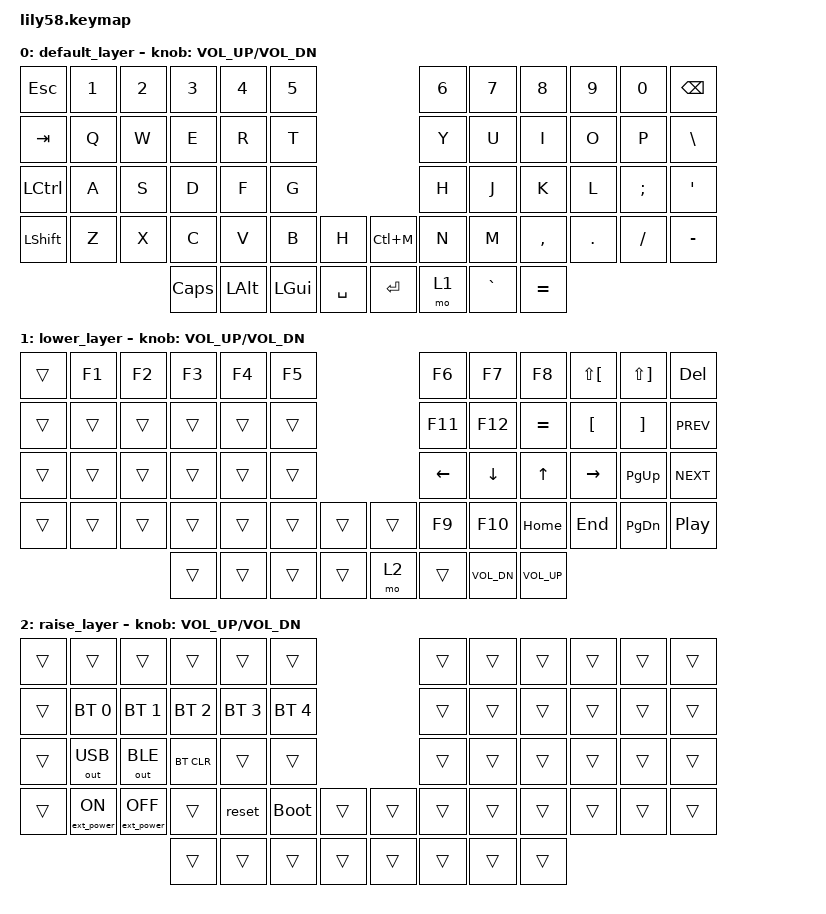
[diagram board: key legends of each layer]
/*
 * Copyright (c) 2020 The ZMK Contributors
 *
 * SPDX-License-Identifier: MIT
 */

#include <behaviors.dtsi>
#include <dt-bindings/zmk/keys.h>
#include <dt-bindings/zmk/bt.h>
#include <dt-bindings/zmk/ext_power.h>
#include <dt-bindings/zmk/outputs.h>

/ {
	keymap {
		compatible = "zmk,keymap";

		default_layer {
// ------------------------------------------------------------------------------------------------------------
// |  ESC  |  1  |  2  |  3    |  4   |  5   |                   |  6   |  7    |  8    |  9   |   0   | BSPC  |
// |  TAB  |  Q  |  W  |  E    |  R   |  T   |                   |  Y   |  U    |  I    |  O   |   P   |  \    |
// |  CTRL |  A  |  S  |  D    |  F   |  G   |                   |  H   |  J    |  K    |  L   |   ;   |  '    |
// | SHIFT |  Z  |  X  |  C    |  V   |  B   |   H   |  | CTRL+M |  N   |  M    |  ,    |  .   |   /   |  -    |
//                     | CAPS  | ALT  | GUI  | SPACE |  | ENTER  | FN1  |  ~    |  =    |
			bindings = <
&kp ESC   &kp N1 &kp N2 &kp N3   &kp N4   &kp N5                         &kp N6 &kp N7    &kp N8    &kp N9  &kp N0   &kp BSPC
&kp TAB   &kp Q  &kp W  &kp E    &kp R    &kp T                          &kp Y  &kp U     &kp I     &kp O   &kp P    &kp BSLH
&kp LCTRL &kp A  &kp S  &kp D    &kp F    &kp G                          &kp H  &kp J     &kp K     &kp L   &kp SEMI &kp SQT
&kp LSHFT &kp Z  &kp X  &kp C    &kp V    &kp B     &kp H      &kp LC(M) &kp N  &kp M     &kp COMMA &kp DOT &kp FSLH &kp MINUS
                        &kp CLCK &kp LALT &kp LGUI  &kp SPACE  &kp RET   &mo 1  &kp GRAVE &kp EQUAL
			>;

			sensor-bindings = <&inc_dec_kp C_VOL_UP C_VOL_DN>;
		};

		lower_layer {
// ------------------------------------------------------------------------------------------------------------------
// |       |  F1 |  F2 |  F3  |  F4  |  F5  |                   |  F6   |  F7   |   F8   |  {    |   }   |    DEL     |
// |       |     |     |      |      |      |                   |  F11  |  F12  | EQUAL  |  [    |   ]   |    PREV    |
// |       |     |     |      |      |      |                   | LEFT  | DOWN  |   UP   | RIGHT | PG_UP |    NEXT    |
// |       |     |     |      |      |      |        |  |       |  F9   |  F10  |  HOME  |  END  | PG_DN | PLAY_PAUSE |
//                     |      |      |      |        |  |  FN2  |       | VOL_DN| VOL_UP |

			bindings = <
&trans    &kp F1 &kp F2 &kp F3  &kp F4  &kp F5                  &kp F6    &kp F7       &kp F8       &kp LS(LBKT)  &kp LS(RBKT) &kp DEL
&trans    &trans &trans &trans  &trans  &trans                  &kp F11   &kp F12      &kp EQUAL    &kp LBKT      &kp RBKT     &kp C_PREV
&trans    &trans &trans &trans  &trans  &trans                  &kp LEFT  &kp DOWN     &kp UP       &kp RIGHT     &kp PG_UP    &kp C_NEXT
&trans    &trans &trans &trans  &trans  &trans &trans   &trans  &kp F9    &kp F10      &kp HOME     &kp END       &kp PG_DN    &kp C_PLAY_PAUSE
                        &trans  &trans  &trans &trans   &mo 2   &trans    &kp C_VOL_DN &kp C_VOL_UP
			>;

			sensor-bindings = <&inc_dec_kp C_VOL_UP C_VOL_DN>;
		};

		raise_layer {
// ----------------------------------------------------------------------------------------------------------------------------
// |       |         |         |        |       |            |                   |      |       |       |      |       |       |
// |       |  BT_0   |  BT_1   |  BT_2  |  BT_3 |   BT_4     |                   |      |       |       |      |       |       |
// |       | OUT_USB | OUT_BLE | BT_CLR |       |            |                   |      |       |       |      |       |       |
// |       |  EP_ON  |  EP_OFF |        | reset | bootloader |        |  |       |      |       |       |      |       |       |
//                   |         |        |       |            |        |  |       |      |       |
			bindings = <
&trans    &trans           &trans            &trans        &trans       &trans                            &trans      &trans    &trans    &trans   &trans    &trans
&trans    &bt BT_SEL 0     &bt BT_SEL 1      &bt BT_SEL 2  &bt BT_SEL 3 &bt BT_SEL 4                      &trans      &trans    &trans    &trans   &trans    &trans
&trans    &out OUT_USB     &out OUT_BLE      &bt BT_CLR    &trans       &trans                            &trans      &trans    &trans    &trans   &trans    &trans
&trans    &ext_power EP_ON &ext_power EP_OFF &trans        &reset       &bootloader    &trans   &trans    &trans      &trans    &trans    &trans   &trans    &trans
                                             &trans        &trans       &trans         &trans   &trans    &trans      &trans    &trans
			>;

			sensor-bindings = <&inc_dec_kp C_VOL_UP C_VOL_DN>;
		};
	};
};
